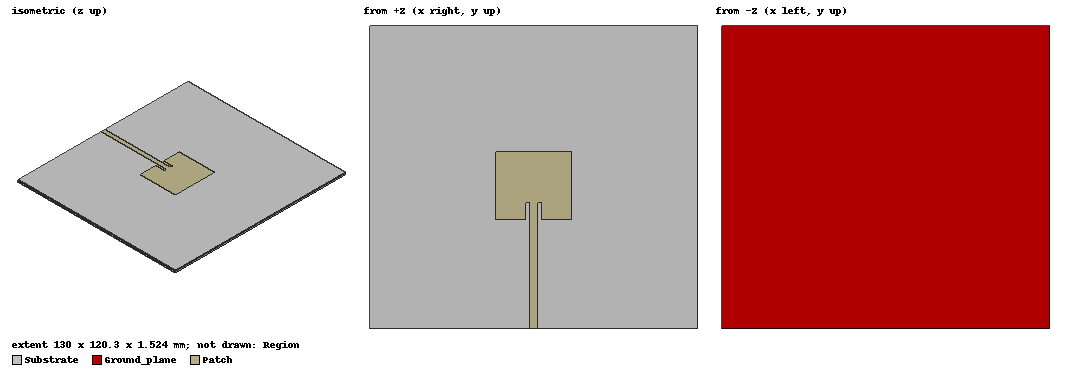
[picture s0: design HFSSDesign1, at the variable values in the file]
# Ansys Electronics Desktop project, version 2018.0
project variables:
  $lambda = 200mm
  $w = 30mm
  $l = 27mm
  $wl = 3mm
  $ll = 50mm
  $h = 1.524mm
  $s = $wl/2
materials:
  vacuum: permittivity=1
  FR4_epoxy: permittivity=4.4 dielectric_loss_tangent=0.02
  air: permittivity=1.0006 permeability=1.0000004

design HFSSDesign1 (HFSS, DrivenTerminal, model units mm)
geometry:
  Substrate [FR4_epoxy] = box(corner=(0, 0, 0), size=($w+$lambda/2, $ll-$l/4+$l+$lambda/4, $h))
  Ground_plane = rectangle(corner=(0, 0, 0), x_size=$w+$lambda/2, y_size=$ll-$l/4+$l+$lambda/4)
  Patch = rectangle(corner=($lambda/4, $ll-$l/4, $h), x_size=$w, y_size=$l)
  Transmission_line = rectangle(corner=($lambda/4+$w/2-$wl/2, 0, $h), x_size=$wl, y_size=$ll)
  Muesca = rectangle(corner=($lambda/4+$w/2-$wl/2-$s, $ll-$l/4, $h), x_size=2*$s+$wl, y_size=$l/4)
  Patch.subtract(Muesca)
  Patch.unite(Transmission_line)
  Region [air] = region(absolute_offset=$lambda/4 on all sides)
  Port = rectangle(corner=($lambda/4+$w/2-$wl/2, 0mm, 0mm), z_size=$h, x_size=$wl)
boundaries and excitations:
  Patch: Perfect E Objects=Patch
  Ground_plane: Perfect E Objects=Ground_plane
  Envioroment: Radiation Objects=Region
  1: Lumped Port Faces=Port.face Impedance=50ohm
  reference conductors: Ground_plane, Patch
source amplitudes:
  1:1: 1 0
